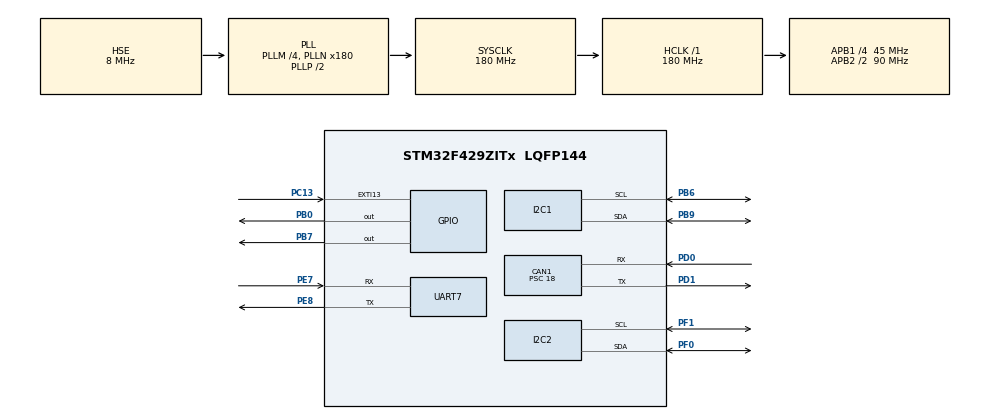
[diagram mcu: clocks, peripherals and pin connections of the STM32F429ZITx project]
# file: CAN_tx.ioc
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CAN1.BS1=CAN_BS1_2TQ
CAN1.BS2=CAN_BS2_2TQ
CAN1.CalculateBaudRate=500000
CAN1.CalculateTimeBit=2000.00
CAN1.CalculateTimeQuantum=400.0
CAN1.Prescaler=18
Dma.Request0=UART7_RX
Dma.Request1=UART7_TX
Dma.UART7_RX.0.Direction=DMA_PERIPH_TO_MEMORY
Dma.UART7_RX.0.FIFOMode=DMA_FIFOMODE_DISABLE
Dma.UART7_RX.0.Instance=DMA1_Stream3
Dma.UART7_RX.0.MemDataAlignment=DMA_MDATAALIGN_BYTE
Dma.UART7_RX.0.MemInc=DMA_MINC_ENABLE
Dma.UART7_RX.0.Mode=DMA_NORMAL
Dma.UART7_RX.0.PeriphDataAlignment=DMA_PDATAALIGN_BYTE
Dma.UART7_RX.0.PeriphInc=DMA_PINC_DISABLE
Dma.UART7_RX.0.Priority=DMA_PRIORITY_LOW
Dma.UART7_TX.1.Direction=DMA_MEMORY_TO_PERIPH
Dma.UART7_TX.1.FIFOMode=DMA_FIFOMODE_DISABLE
Dma.UART7_TX.1.Instance=DMA1_Stream1
Dma.UART7_TX.1.MemDataAlignment=DMA_MDATAALIGN_BYTE
Dma.UART7_TX.1.MemInc=DMA_MINC_ENABLE
Dma.UART7_TX.1.Mode=DMA_NORMAL
Dma.UART7_TX.1.PeriphDataAlignment=DMA_PDATAALIGN_BYTE
Dma.UART7_TX.1.PeriphInc=DMA_PINC_DISABLE
Dma.UART7_TX.1.Priority=DMA_PRIORITY_LOW
Mcu.Family=STM32F4
Mcu.Name=STM32F429ZITx
Mcu.Package=LQFP144
NVIC.CAN1_RX0_IRQn=true\:0\:0\:false\:false\:true\:true\:true
NVIC.DMA1_Stream1_IRQn=true\:0\:0\:false\:false\:true\:false\:true
NVIC.DMA1_Stream3_IRQn=true\:0\:0\:false\:false\:true\:false\:true
NVIC.EXTI15_10_IRQn=true\:0\:0\:false\:false\:true\:true\:true
NVIC.PriorityGroup=NVIC_PRIORITYGROUP_4
NVIC.TIM8_TRG_COM_TIM14_IRQn=true\:15\:0\:false\:false\:true\:false\:true
NVIC.TimeBase=TIM8_TRG_COM_TIM14_IRQn
NVIC.TimeBaseIP=TIM14
NVIC.UART7_IRQn=true\:0\:0\:false\:false\:true\:true\:true
PB0.Signal=GPIO_Output
PB6.Mode=I2C
PB6.Signal=I2C1_SCL
PB7.Signal=GPIO_Output
PB9.Mode=I2C
PB9.Signal=I2C1_SDA
PC13.Signal=GPXTI13
PD0.Mode=CAN_Activate
PD0.Signal=CAN1_RX
PD1.Mode=CAN_Activate
PD1.Signal=CAN1_TX
PE7.GPIO_PuPd=GPIO_NOPULL
PE7.Mode=Asynchronous
PE7.Signal=UART7_RX
PE8.GPIO_PuPd=GPIO_NOPULL
PE8.Mode=Asynchronous
PE8.Signal=UART7_TX
PF0.Mode=I2C
PF0.Signal=I2C2_SDA
PF1.Mode=I2C
PF1.Signal=I2C2_SCL
PH0/OSC_IN.Mode=HSE-External-Oscillator
PH0/OSC_IN.Signal=RCC_OSC_IN
PH1/OSC_OUT.Mode=HSE-External-Oscillator
PH1/OSC_OUT.Signal=RCC_OSC_OUT
ProjectManager.HeapSize=0x200
ProjectManager.StackSize=0x400
ProjectManager.TargetToolchain=STM32CubeIDE
RCC.48MHZClocksFreq_Value=51428571.428571425
RCC.AHBFreq_Value=180000000
RCC.APB1CLKDivider=RCC_HCLK_DIV4
RCC.APB1Freq_Value=45000000
RCC.APB1TimFreq_Value=90000000
RCC.APB2CLKDivider=RCC_HCLK_DIV2
RCC.APB2Freq_Value=90000000
RCC.APB2TimFreq_Value=180000000
RCC.CortexFreq_Value=180000000
RCC.HCLKFreq_Value=180000000
RCC.HSE_VALUE=8000000
RCC.HSI_VALUE=16000000
RCC.LSE_VALUE=32768
RCC.PLLM=4
RCC.PLLMUL=RCC_PLL_MUL9
RCC.PLLN=180
RCC.PLLQ=7
RCC.PLLSourceVirtual=RCC_PLLSOURCE_HSE
RCC.PRESCALERUSB=RCC_USBCLKSOURCE_PLL_DIV1_5
RCC.SYSCLKFreq_VALUE=180000000
RCC.SYSCLKSource=RCC_SYSCLKSOURCE_PLLCLK
RCC.SYSCLKSourceVirtual=RCC_SYSCLKSOURCE_PLLCLK
RCC.USBFreq_Value=48000000
RCC.VCOOutputFreq_Value=360000000
UART7.VirtualMode=Asynchronous
VP_SYS_VS_tim14.Mode=TIM14
board=NUCLEO-F429ZI

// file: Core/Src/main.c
/* USER CODE BEGIN Header */
/**
  ******************************************************************************
  * @file           : main.c
  * @brief          : Main program body
  ******************************************************************************
  * @attention
  *
  * <h2><center>&copy; Copyright (c) 2021 STMicroelectronics.
  * All rights reserved.</center></h2>
  *
  * This software component is licensed by ST under BSD 3-Clause license,
  * the "License"; You may not use this file except in compliance with the
  * License. You may obtain a copy of the License at:
  *                        opensource.org/licenses/BSD-3-Clause
  *
  ******************************************************************************
  */
/* USER CODE END Header */
#include "main.h"

/* USER CODE BEGIN Includes */
#include "stdio.h"
/* USER CODE END Includes */

/* USER CODE BEGIN PTD */
extern void initialise_monitor_handles();
  uint8_t TxData[8];
  uint8_t RxData[8];
  uint32_t TxMailbox;
  int Identifier = 0;
  int status = 0;

  uint8_t rxbuff[20];

  uint8_t recieved_msg[20];
  uint8_t rx_index = 0;
  uint8_t recieved_bit;

  uint16_t wrPtr = 0;
  uint16_t rdPtr = 0;
  uint16_t rcvdLen = 0;
  uint8_t rcvFlag = 0;
  uint8_t RxBuf3[12];

  uint32_t totalSentBytes = 0;
  uint32_t totalRcvdBytes = 0;

  uint16_t sentbytes = 0;

  uint16_t _HT_Count = 0;
  uint16_t _TC_Count = 0;
  uint16_t _IDLE_Count = 0;
/* USER CODE END PTD */

CAN_HandleTypeDef hcan1;

I2C_HandleTypeDef hi2c1;
I2C_HandleTypeDef hi2c2;

UART_HandleTypeDef huart7;
DMA_HandleTypeDef hdma_uart7_rx;
DMA_HandleTypeDef hdma_uart7_tx;

void SystemClock_Config(void);
static void MX_GPIO_Init(void);
static void MX_CAN1_Init(void);
static void MX_I2C1_Init(void);
static void MX_I2C2_Init(void);
static void MX_DMA_Init(void);
static void MX_UART7_Init(void);

/* USER CODE BEGIN 0 */

/*
int TX = 1;
int RX = 0;

void HAL_GPIO_EXTI_Callback(uint16_t GPIO_Pin){
	status = 0;
	if(GPIO_Pin == GPIO_PIN_13){
		  TxData[0] = 5;
		  TxData[1] = 1;
		  TxData[2] = 0xFF;
		  TxData[3] = 0x0;
		  TxData[4] = 0xFF;
		  TxData[5] = 0x0;
		  TxData[6] = 0xFF;
		  TxData[7] = 0x0;

		HAL_CAN_AddTxMessage(&hcan1, &TxHeader, TxData, &TxMailbox);
		if(HAL_CAN_AddTxMessage(&hcan1, &TxHeader, TxData, &TxMailbox) == HAL_OK){
			status = 2000;
		}
	}
}

void HAL_CAN_RxFifo0MsgPendingCallback(CAN_HandleTypeDef *hcan){
	HAL_CAN_GetRxMessage(hcan, CAN_RX_FIFO0, &RxHeader, RxData);
	if(RxHeader.DLC == 8){
		status = 1000;
	}
}*/

/* USER CODE END 0 */

int main(void)
{

  /* MCU Configuration--------------------------------------------------------*/

  /* Reset of all peripherals, Initializes the Flash interface and the Systick. */
  HAL_Init();

  /* USER CODE BEGIN Init */
  initialise_monitor_handles();

  /* USER CODE END Init */

  /* Configure the system clock */
  SystemClock_Config();

  /* Initialize all configured peripherals */
  MX_GPIO_Init();
  MX_CAN1_Init();
  MX_I2C1_Init();
  MX_I2C2_Init();
  MX_DMA_Init();
  MX_UART7_Init();
  /* USER CODE BEGIN 2 */

  //if (HAL_CAN_Start(&hcan1) != HAL_OK){
	//  Error_Handler();
  //}
  __HAL_UART_ENABLE_IT(&huart7, UART_IT_IDLE);
  HAL_UART_Receive_DMA(&huart7, rxbuff, 20);

  HAL_CAN_ActivateNotification(&hcan1, CAN_IT_RX_FIFO0_MSG_PENDING);

  TxData[0] = 5;
  TxData[1] = 1;
  TxData[2] = 0xFF;
  TxData[3] = 0x0;
  TxData[4] = 0xFF;
  TxData[5] = 0x0;
  TxData[6] = 0xFF;
  TxData[7] = 0x0;

  Identifier = 0x101;

  state_machine();

  /* USER CODE END 2 */

  /* Infinite loop */
  /* USER CODE BEGIN WHILE */
  int loop;
  while (1)
  {
	//printf("W \r\n");
	send_UART();
	HAL_UART_Receive_DMA(&huart7, rxbuff, 20);
	//for(loop = 0; loop < 20; loop++)
	printf("%s\n ", rxbuff);

	//send_CAN(Identifier, TxData,TxMailbox);
	//recieve_CAN(RxData);

    /* USER CODE END WHILE */

  }
}

void SystemClock_Config(void)
{
  RCC_OscInitTypeDef RCC_OscInitStruct = {0};
  RCC_ClkInitTypeDef RCC_ClkInitStruct = {0};

  /** Configure the main internal regulator output voltage
  */
  __HAL_RCC_PWR_CLK_ENABLE();
  __HAL_PWR_VOLTAGESCALING_CONFIG(PWR_REGULATOR_VOLTAGE_SCALE1);
  /** Initializes the RCC Oscillators according to the specified parameters
  * in the RCC_OscInitTypeDef structure.
  */
  RCC_OscInitStruct.OscillatorType = RCC_OSCILLATORTYPE_HSE;
  RCC_OscInitStruct.HSEState = RCC_HSE_ON;
  RCC_OscInitStruct.PLL.PLLState = RCC_PLL_ON;
  RCC_OscInitStruct.PLL.PLLSource = RCC_PLLSOURCE_HSE;
  RCC_OscInitStruct.PLL.PLLM = 4;
  RCC_OscInitStruct.PLL.PLLN = 180;
  RCC_OscInitStruct.PLL.PLLP = RCC_PLLP_DIV2;
  RCC_OscInitStruct.PLL.PLLQ = 7;
  if (HAL_RCC_OscConfig(&RCC_OscInitStruct) != HAL_OK)
  {
    Error_Handler();
  }
  /** Activate the Over-Drive mode
  */
  if (HAL_PWREx_EnableOverDrive() != HAL_OK)
  {
    Error_Handler();
  }
  /** Initializes the CPU, AHB and APB buses clocks
  */
  RCC_ClkInitStruct.ClockType = RCC_CLOCKTYPE_HCLK|RCC_CLOCKTYPE_SYSCLK
                              |RCC_CLOCKTYPE_PCLK1|RCC_CLOCKTYPE_PCLK2;
  RCC_ClkInitStruct.SYSCLKSource = RCC_SYSCLKSOURCE_PLLCLK;
  RCC_ClkInitStruct.AHBCLKDivider = RCC_SYSCLK_DIV1;
  RCC_ClkInitStruct.APB1CLKDivider = RCC_HCLK_DIV4;
  RCC_ClkInitStruct.APB2CLKDivider = RCC_HCLK_DIV2;

  if (HAL_RCC_ClockConfig(&RCC_ClkInitStruct, FLASH_LATENCY_5) != HAL_OK)
  {
    Error_Handler();
  }
}

static void MX_CAN1_Init(void)
{

  hcan1.Instance = CAN1;
  hcan1.Init.Prescaler = 18;
  hcan1.Init.Mode = CAN_MODE_NORMAL;
  hcan1.Init.SyncJumpWidth = CAN_SJW_1TQ;
  hcan1.Init.TimeSeg1 = CAN_BS1_2TQ;
  hcan1.Init.TimeSeg2 = CAN_BS2_2TQ;
  hcan1.Init.TimeTriggeredMode = DISABLE;
  hcan1.Init.AutoBusOff = DISABLE;
  hcan1.Init.AutoWakeUp = DISABLE;
  hcan1.Init.AutoRetransmission = DISABLE;
  hcan1.Init.ReceiveFifoLocked = DISABLE;
  hcan1.Init.TransmitFifoPriority = DISABLE;
  if (HAL_CAN_Init(&hcan1) != HAL_OK)
  {
    Error_Handler();
  }
  /* USER CODE BEGIN CAN1_Init 2 */
  CAN_FilterTypeDef canfilterconfig;
  canfilterconfig.FilterActivation = CAN_FILTER_ENABLE;
  canfilterconfig.FilterBank = 0;
  canfilterconfig.FilterFIFOAssignment = CAN_FILTER_FIFO0;
  canfilterconfig.FilterIdHigh = 0x0<<5;
  canfilterconfig.FilterIdLow = 0;
  canfilterconfig.FilterMaskIdHigh = 0x0<<5;
  canfilterconfig.FilterMaskIdLow = 0x0000;
  canfilterconfig.FilterMode = CAN_FILTERMODE_IDMASK;
  canfilterconfig.FilterScale = CAN_FILTERSCALE_32BIT;
  canfilterconfig.SlaveStartFilterBank = 20;

  HAL_CAN_ConfigFilter(&hcan1, &canfilterconfig);

  /* USER CODE END CAN1_Init 2 */

}

static void MX_I2C1_Init(void)
{

  hi2c1.Instance = I2C1;
  hi2c1.Init.ClockSpeed = 100000;
  hi2c1.Init.DutyCycle = I2C_DUTYCYCLE_2;
  hi2c1.Init.OwnAddress1 = 0;
  hi2c1.Init.AddressingMode = I2C_ADDRESSINGMODE_7BIT;
  hi2c1.Init.DualAddressMode = I2C_DUALADDRESS_DISABLE;
  hi2c1.Init.OwnAddress2 = 0;
  hi2c1.Init.GeneralCallMode = I2C_GENERALCALL_DISABLE;
  hi2c1.Init.NoStretchMode = I2C_NOSTRETCH_DISABLE;
  if (HAL_I2C_Init(&hi2c1) != HAL_OK)
  {
    Error_Handler();
  }
  /** Configure Analogue filter
  */
  if (HAL_I2CEx_ConfigAnalogFilter(&hi2c1, I2C_ANALOGFILTER_ENABLE) != HAL_OK)
  {
    Error_Handler();
  }
  /** Configure Digital filter
  */
  if (HAL_I2CEx_ConfigDigitalFilter(&hi2c1, 0) != HAL_OK)
  {
    Error_Handler();
  }

}

static void MX_I2C2_Init(void)
{

  hi2c2.Instance = I2C2;
  hi2c2.Init.ClockSpeed = 100000;
  hi2c2.Init.DutyCycle = I2C_DUTYCYCLE_2;
  hi2c2.Init.OwnAddress1 = 0;
  hi2c2.Init.AddressingMode = I2C_ADDRESSINGMODE_7BIT;
  hi2c2.Init.DualAddressMode = I2C_DUALADDRESS_DISABLE;
  hi2c2.Init.OwnAddress2 = 0;
  hi2c2.Init.GeneralCallMode = I2C_GENERALCALL_DISABLE;
  hi2c2.Init.NoStretchMode = I2C_NOSTRETCH_DISABLE;
  if (HAL_I2C_Init(&hi2c2) != HAL_OK)
  {
    Error_Handler();
  }
  /** Configure Analogue filter
  */
  if (HAL_I2CEx_ConfigAnalogFilter(&hi2c2, I2C_ANALOGFILTER_ENABLE) != HAL_OK)
  {
    Error_Handler();
  }
  /** Configure Digital filter
  */
  if (HAL_I2CEx_ConfigDigitalFilter(&hi2c2, 0) != HAL_OK)
  {
    Error_Handler();
  }

}

static void MX_UART7_Init(void)
{

  huart7.Instance = UART7;
  huart7.Init.BaudRate = 115200;
  huart7.Init.WordLength = UART_WORDLENGTH_8B;
  huart7.Init.StopBits = UART_STOPBITS_1;
  huart7.Init.Parity = UART_PARITY_NONE;
  huart7.Init.Mode = UART_MODE_TX_RX;
  huart7.Init.HwFlowCtl = UART_HWCONTROL_NONE;
  huart7.Init.OverSampling = UART_OVERSAMPLING_16;
  if (HAL_UART_Init(&huart7) != HAL_OK)
  {
    Error_Handler();
  }

}

static void MX_DMA_Init(void)
{

  /* DMA controller clock enable */
  __HAL_RCC_DMA1_CLK_ENABLE();

  /* DMA interrupt init */
  /* DMA1_Stream1_IRQn interrupt configuration */
  HAL_NVIC_SetPriority(DMA1_Stream1_IRQn, 0, 0);
  HAL_NVIC_EnableIRQ(DMA1_Stream1_IRQn);
  /* DMA1_Stream3_IRQn interrupt configuration */
  HAL_NVIC_SetPriority(DMA1_Stream3_IRQn, 0, 0);
  HAL_NVIC_EnableIRQ(DMA1_Stream3_IRQn);

}

static void MX_GPIO_Init(void)
{
  GPIO_InitTypeDef GPIO_InitStruct = {0};

  /* GPIO Ports Clock Enable */
  __HAL_RCC_GPIOC_CLK_ENABLE();
  __HAL_RCC_GPIOF_CLK_ENABLE();
  __HAL_RCC_GPIOH_CLK_ENABLE();
  __HAL_RCC_GPIOB_CLK_ENABLE();
  __HAL_RCC_GPIOE_CLK_ENABLE();
  __HAL_RCC_GPIOD_CLK_ENABLE();

  /*Configure GPIO pin Output Level */
  HAL_GPIO_WritePin(GPIOB, GPIO_PIN_0|GPIO_PIN_7, GPIO_PIN_RESET);

  /*Configure GPIO pin : PC13 */
  GPIO_InitStruct.Pin = GPIO_PIN_13;
  GPIO_InitStruct.Mode = GPIO_MODE_IT_RISING;
  GPIO_InitStruct.Pull = GPIO_NOPULL;
  HAL_GPIO_Init(GPIOC, &GPIO_InitStruct);

  /*Configure GPIO pins : PB0 PB7 */
  GPIO_InitStruct.Pin = GPIO_PIN_0|GPIO_PIN_7;
  GPIO_InitStruct.Mode = GPIO_MODE_OUTPUT_PP;
  GPIO_InitStruct.Pull = GPIO_NOPULL;
  GPIO_InitStruct.Speed = GPIO_SPEED_FREQ_LOW;
  HAL_GPIO_Init(GPIOB, &GPIO_InitStruct);

  /* EXTI interrupt init*/
  HAL_NVIC_SetPriority(EXTI15_10_IRQn, 0, 0);
  HAL_NVIC_EnableIRQ(EXTI15_10_IRQn);

}

/* USER CODE BEGIN 4 */
void HAL_UART_RxCpltCallback(UART_HandleTypeDef *huart){
  	//HAL_UART_Receive_IT(&huart7, &recieved_bit,1000);
  	//recieved_msg[rx_index++] = recieved_bit;
	_TC_Count++;
	rcvFlag=1;

  }

void HAL_UART_RxHalfCpltCallback(UART_HandleTypeDef *huart)
{
	_HT_Count++;
	rcvFlag = 1;
}
void UART_IDLECallback(UART_HandleTypeDef *huart)
{
	_IDLE_Count++;
	rcvFlag = 1;
}
void UART_Data_Process(UART_HandleTypeDef *huart)
{

}
/* USER CODE END 4 */

void HAL_TIM_PeriodElapsedCallback(TIM_HandleTypeDef *htim)
{
  if (htim->Instance == TIM14) {
    HAL_IncTick();
  }
}

void Error_Handler(void)
{
  __disable_irq();
  while (1)
  {
  }
}

/************************ (C) COPYRIGHT STMicroelectronics *****END OF FILE****/
